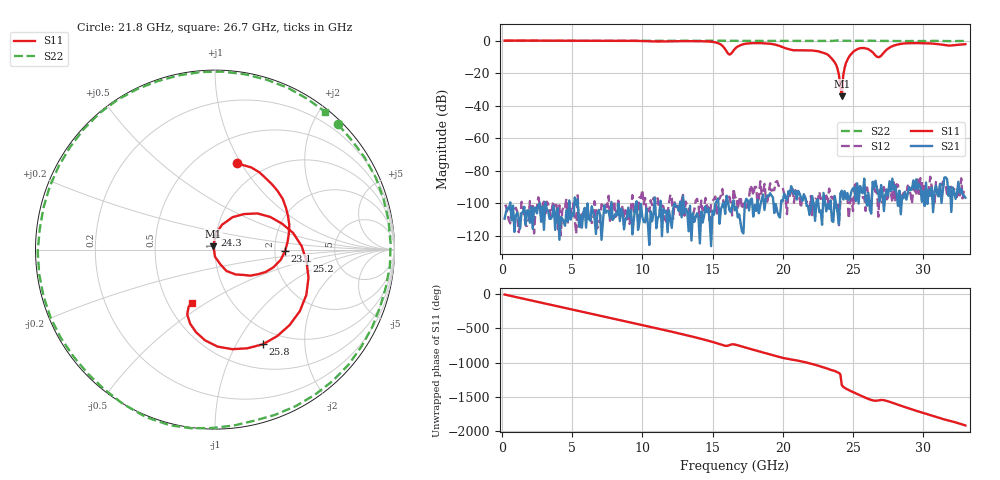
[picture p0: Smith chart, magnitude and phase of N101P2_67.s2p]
# GHZ S RI R 50
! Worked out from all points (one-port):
!   329 points, 200 MHz to 33 GHz, reference 50 ohm
!   lowest |S11| = -34.3 dB at 24.2 GHz (marker M1), VSWR 1.04, Z = 49.1 + j1.71 ohm
!   |S11| at or under -10 dB: 23.37 GHz to 24.71 GHz (1.339 GHz wide, 5.57 % of centre); 26.75 GHz to 26.9 GHz (155 MHz wide, 0.578 % of centre)
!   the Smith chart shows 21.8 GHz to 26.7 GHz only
!   S11 on the Smith chart (normalised r, x): 21.8 GHz: 0.75, +0.96; 23.1 GHz: 2.28, -0.04; 24.3 GHz: 0.99, +0.16; 25.2 GHz: 3.01, -0.54; 25.8 GHz: 0.80, -1.29; 26.7 GHz: 0.66, -0.44
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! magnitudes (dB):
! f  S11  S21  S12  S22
! 200 MHz  0.0  -109.3  -101.8  0.0
! 5.7 GHz  0.0  -114.9  -104.8  0.0
! 11.2 GHz  -0.5  -107.9  -103.6  -0.1
! 15.1 GHz  -0.9  -107.0  -97.5  -0.1
! 15.7 GHz  -3.1  -101.1  -91.1  -0.1
! 16.2 GHz  -8.6  -104.1  -95.8  -0.1
! 16.6 GHz  -5.0  -104.3  -96.4  -0.1
! 18.4 GHz  -1.5  -101.2  -86.4  -0.2
! 21.8 GHz  -6.1  -101.5  -99.0  -0.2
! 22.1 GHz  -6.1  -95.5  -107.3  -0.2
! 23.1 GHz  -8.2  -104.9  -95.2  -0.2
! 23.8 GHz  -14.9  -100.6  -101.9  0.0
! 24 GHz  -21.2  -112.9  -113.4  0.1
! 24.2 GHz  -34.3  -92.2  -97.9  -0.1
! 24.3 GHz  -21.7  -97.5  -98.7  -0.1
! 24.6 GHz  -11.8  -93.6  -96.5  -0.1
! 25.2 GHz  -5.8  -98.6  -86.4  -0.1
! 25.8 GHz  -4.6  -84.7  -96.0  -0.1
! 26.7 GHz  -9.9  -90.9  -89.8  -0.1
! 27.6 GHz  -4.3  -86.4  -93.9  -0.2
! 28.9 GHz  -1.6  -94.0  -89.0  -0.2
! 33 GHz  -2.2  -96.5  -91.4  -0.2
